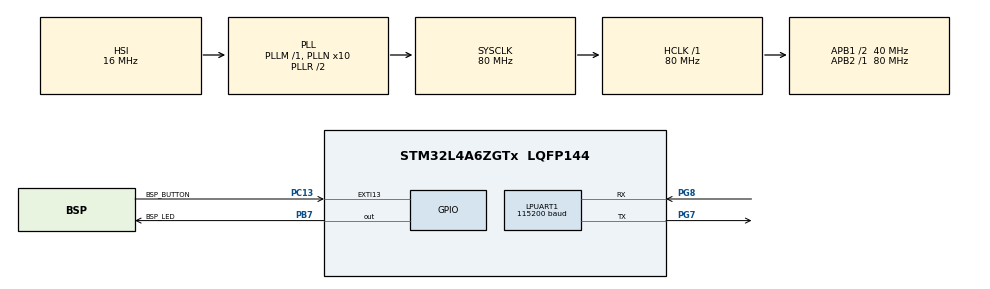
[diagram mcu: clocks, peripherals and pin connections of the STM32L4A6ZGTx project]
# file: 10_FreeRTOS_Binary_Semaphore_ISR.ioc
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FREERTOS.BinarySemaphores01=BinarySem,Dynamic,NULL
FREERTOS.Tasks01=Normal_Task,24,128,Start_Normal_Task,Default,NULL,Dynamic,NULL,NULL;High_Task,40,128,Start_High_Task,Default,NULL,Dynamic,NULL,NULL;Low_Task,8,128,Start_Low_Task,Default,NULL,Dynamic,NULL,NULL
FREERTOS.configUSE_NEWLIB_REENTRANT=1
LPUART1.BaudRate=115200
LPUART1.WordLength=UART_WORDLENGTH_8B
Mcu.Family=STM32L4
Mcu.Name=STM32L4A6ZGTx
Mcu.Package=LQFP144
NVIC.EXTI15_10_IRQn=true\:5\:0\:false\:false\:true\:true\:true\:true\:true
NVIC.PriorityGroup=NVIC_PRIORITYGROUP_4
NVIC.TIM6_DAC_IRQn=true\:15\:0\:false\:false\:true\:false\:false\:true\:true
NVIC.TimeBase=TIM6_DAC_IRQn
NVIC.TimeBaseIP=TIM6
PA13\ (JTMS/SWDIO).Mode=Serial_Wire
PA13\ (JTMS/SWDIO).Signal=SYS_JTMS-SWDIO
PA14\ (JTCK/SWCLK).Mode=Serial_Wire
PA14\ (JTCK/SWCLK).Signal=SYS_JTCK-SWCLK
PB7.GPIO_Label=BSP_LED
PB7.Signal=GPIO_Output
PC13.GPIO_Label=BSP_BUTTON
PC13.Signal=GPXTI13
PG7.Mode=Asynchronous
PG7.Signal=LPUART1_TX
PG8.Mode=Asynchronous
PG8.Signal=LPUART1_RX
ProjectManager.HeapSize=0x200
ProjectManager.StackSize=0x400
ProjectManager.TargetToolchain=STM32CubeIDE
RCC.ADCFreq_Value=192000000
RCC.AHBFreq_Value=80000000
RCC.APB1CLKDivider=RCC_HCLK_DIV2
RCC.APB1Freq_Value=40000000
RCC.APB1TimFreq_Value=80000000
RCC.APB2Freq_Value=80000000
RCC.APB2TimFreq_Value=80000000
RCC.CortexFreq_Value=80000000
RCC.FLatency=FLASH_LATENCY_4
RCC.HCLKFreq_Value=80000000
RCC.HSE_VALUE=8000000
RCC.HSI48_VALUE=48000000
RCC.HSI_VALUE=16000000
RCC.LSE_VALUE=32768
RCC.MSI_VALUE=4000000
RCC.PLLN=10
RCC.PLLSAI1N=24
RCC.PLLSourceVirtual=RCC_PLLSOURCE_HSI
RCC.SYSCLKFreq_VALUE=80000000
RCC.SYSCLKSource=RCC_SYSCLKSOURCE_PLLCLK
RCC.USBFreq_Value=192000000
RCC.VCOOutputFreq_Value=160000000
VP_FREERTOS_VS_CMSIS_V2.Mode=CMSIS_V2
VP_SYS_VS_tim6.Mode=TIM6
board=NUCLEO-L4A6ZG

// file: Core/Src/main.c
/* USER CODE BEGIN Header */
/**
  ******************************************************************************
  * @file           : main.c
  * @brief          : Main program body
  ******************************************************************************
  * @attention
  *
  * Copyright (c) 2024 STMicroelectronics.
  * All rights reserved.
  *
  * This software is licensed under terms that can be found in the LICENSE file
  * in the root directory of this software component.
  * If no LICENSE file comes with this software, it is provided AS-IS.
  *
  ******************************************************************************
  */
/* USER CODE END Header */
#include "main.h"
#include "cmsis_os.h"

/* USER CODE BEGIN Includes */
#include <stdio.h>
/* USER CODE END Includes */

UART_HandleTypeDef hlpuart1;

/* Definitions for Normal_Task */
osThreadId_t Normal_TaskHandle;
const osThreadAttr_t Normal_Task_attributes = {
  .name = "Normal_Task",
  .stack_size = 128 * 4,
  .priority = (osPriority_t) osPriorityNormal,
};
/* Definitions for High_Task */
osThreadId_t High_TaskHandle;
const osThreadAttr_t High_Task_attributes = {
  .name = "High_Task",
  .stack_size = 128 * 4,
  .priority = (osPriority_t) osPriorityHigh,
};
/* Definitions for Low_Task */
osThreadId_t Low_TaskHandle;
const osThreadAttr_t Low_Task_attributes = {
  .name = "Low_Task",
  .stack_size = 128 * 4,
  .priority = (osPriority_t) osPriorityLow,
};
/* Definitions for BinarySem */
osSemaphoreId_t BinarySemHandle;
const osSemaphoreAttr_t BinarySem_attributes = {
  .name = "BinarySem"
};
/* USER CODE BEGIN PV */
volatile uint32_t last_debounce_time = 0; // Store the last debounce time
const uint32_t debounce_delay = 200;      // 500 milliseconds debounce delay
volatile uint8_t flag = 0;
/* USER CODE END PV */

void SystemClock_Config(void);
static void MX_GPIO_Init(void);
static void MX_LPUART1_UART_Init(void);
void Start_Normal_Task(void *argument);
void Start_High_Task(void *argument);
void Start_Low_Task(void *argument);

int main(void)
{

  /* MCU Configuration--------------------------------------------------------*/

  /* Reset of all peripherals, Initializes the Flash interface and the Systick. */
  HAL_Init();

  /* Configure the system clock */
  SystemClock_Config();

  /* Initialize all configured peripherals */
  MX_GPIO_Init();
  MX_LPUART1_UART_Init();

  /* Init scheduler */
  osKernelInitialize();

  /* Create the semaphores(s) */
  /* creation of BinarySem */
  BinarySemHandle = osSemaphoreNew(1, 1, &BinarySem_attributes);

  /* Create the thread(s) */
  /* creation of Normal_Task */
  Normal_TaskHandle = osThreadNew(Start_Normal_Task, NULL, &Normal_Task_attributes);

  /* creation of High_Task */
  High_TaskHandle = osThreadNew(Start_High_Task, NULL, &High_Task_attributes);

  /* creation of Low_Task */
  Low_TaskHandle = osThreadNew(Start_Low_Task, NULL, &Low_Task_attributes);

  /* Start scheduler */
  osKernelStart();

  /* We should never get here as control is now taken by the scheduler */

  /* Infinite loop */
  while (1)
  {

  }
}

void SystemClock_Config(void)
{
  RCC_OscInitTypeDef RCC_OscInitStruct = {0};
  RCC_ClkInitTypeDef RCC_ClkInitStruct = {0};

  /** Configure the main internal regulator output voltage
  */
  if (HAL_PWREx_ControlVoltageScaling(PWR_REGULATOR_VOLTAGE_SCALE1) != HAL_OK)
  {
    Error_Handler();
  }

  /** Initializes the RCC Oscillators according to the specified parameters
  * in the RCC_OscInitTypeDef structure.
  */
  RCC_OscInitStruct.OscillatorType = RCC_OSCILLATORTYPE_HSI;
  RCC_OscInitStruct.HSIState = RCC_HSI_ON;
  RCC_OscInitStruct.HSICalibrationValue = RCC_HSICALIBRATION_DEFAULT;
  RCC_OscInitStruct.PLL.PLLState = RCC_PLL_ON;
  RCC_OscInitStruct.PLL.PLLSource = RCC_PLLSOURCE_HSI;
  RCC_OscInitStruct.PLL.PLLM = 1;
  RCC_OscInitStruct.PLL.PLLN = 10;
  RCC_OscInitStruct.PLL.PLLP = RCC_PLLP_DIV2;
  RCC_OscInitStruct.PLL.PLLQ = RCC_PLLQ_DIV2;
  RCC_OscInitStruct.PLL.PLLR = RCC_PLLR_DIV2;
  if (HAL_RCC_OscConfig(&RCC_OscInitStruct) != HAL_OK)
  {
    Error_Handler();
  }

  /** Initializes the CPU, AHB and APB buses clocks
  */
  RCC_ClkInitStruct.ClockType = RCC_CLOCKTYPE_HCLK|RCC_CLOCKTYPE_SYSCLK
                              |RCC_CLOCKTYPE_PCLK1|RCC_CLOCKTYPE_PCLK2;
  RCC_ClkInitStruct.SYSCLKSource = RCC_SYSCLKSOURCE_PLLCLK;
  RCC_ClkInitStruct.AHBCLKDivider = RCC_SYSCLK_DIV1;
  RCC_ClkInitStruct.APB1CLKDivider = RCC_HCLK_DIV2;
  RCC_ClkInitStruct.APB2CLKDivider = RCC_HCLK_DIV1;

  if (HAL_RCC_ClockConfig(&RCC_ClkInitStruct, FLASH_LATENCY_4) != HAL_OK)
  {
    Error_Handler();
  }
}

static void MX_LPUART1_UART_Init(void)
{

  hlpuart1.Instance = LPUART1;
  hlpuart1.Init.BaudRate = 115200;
  hlpuart1.Init.WordLength = UART_WORDLENGTH_8B;
  hlpuart1.Init.StopBits = UART_STOPBITS_1;
  hlpuart1.Init.Parity = UART_PARITY_NONE;
  hlpuart1.Init.Mode = UART_MODE_TX_RX;
  hlpuart1.Init.HwFlowCtl = UART_HWCONTROL_NONE;
  hlpuart1.Init.OneBitSampling = UART_ONE_BIT_SAMPLE_DISABLE;
  hlpuart1.AdvancedInit.AdvFeatureInit = UART_ADVFEATURE_NO_INIT;
  if (HAL_UART_Init(&hlpuart1) != HAL_OK)
  {
    Error_Handler();
  }

}

static void MX_GPIO_Init(void)
{
  GPIO_InitTypeDef GPIO_InitStruct = {0};

  /* GPIO Ports Clock Enable */
  __HAL_RCC_GPIOC_CLK_ENABLE();
  __HAL_RCC_GPIOG_CLK_ENABLE();
  HAL_PWREx_EnableVddIO2();
  __HAL_RCC_GPIOA_CLK_ENABLE();
  __HAL_RCC_GPIOB_CLK_ENABLE();

  /*Configure GPIO pin Output Level */
  HAL_GPIO_WritePin(BSP_LED_GPIO_Port, BSP_LED_Pin, GPIO_PIN_RESET);

  /*Configure GPIO pin : BSP_BUTTON_Pin */
  GPIO_InitStruct.Pin = BSP_BUTTON_Pin;
  GPIO_InitStruct.Mode = GPIO_MODE_IT_RISING;
  GPIO_InitStruct.Pull = GPIO_NOPULL;
  HAL_GPIO_Init(BSP_BUTTON_GPIO_Port, &GPIO_InitStruct);

  /*Configure GPIO pin : BSP_LED_Pin */
  GPIO_InitStruct.Pin = BSP_LED_Pin;
  GPIO_InitStruct.Mode = GPIO_MODE_OUTPUT_PP;
  GPIO_InitStruct.Pull = GPIO_NOPULL;
  GPIO_InitStruct.Speed = GPIO_SPEED_FREQ_LOW;
  HAL_GPIO_Init(BSP_LED_GPIO_Port, &GPIO_InitStruct);

  /* EXTI interrupt init*/
  HAL_NVIC_SetPriority(EXTI15_10_IRQn, 5, 0);
  HAL_NVIC_EnableIRQ(EXTI15_10_IRQn);

}

/* USER CODE BEGIN 4 */
void HAL_GPIO_EXTI_Callback(uint16_t GPIO_Pin)
{
  if (GPIO_Pin == GPIO_PIN_13)
  {
	  uint32_t current_time = HAL_GetTick(); // Get the current time in milliseconds

	      // Check if the debounce time has passed
	      if ((current_time - last_debounce_time) >= debounce_delay)
	      {
	        osSemaphoreRelease(BinarySemHandle);
	        printf("\r\nNormal Task: Semaphore released, task completed.\r\n");
	        // Update the last debounce time
	        last_debounce_time = current_time;
	      }
  }
}
/* USER CODE END 4 */

void Start_Normal_Task(void *argument)
{
  /* USER CODE BEGIN 5 */
  /* Infinite loop */
  for(;;)
  {
	    osSemaphoreAcquire(BinarySemHandle, osWaitForever);

	    printf("\r\nNormal Task: Semaphore acquired, performing task...\r\n");

	    HAL_GPIO_WritePin(GPIOB, GPIO_PIN_7, GPIO_PIN_RESET);
	    osDelay(1000);

	    // below line that release the semaphore
	    // if i comment this line it will not allowed to acquire semaphore
	    // for high task and continue to execute the low task

//	    osSemaphoreRelease(BinarySemHandle);
//	    printf("\r\nNormal Task: Semaphore released, task completed.\r\n");

	    osDelay(1000);  // Ensure some delay to avoid busy looping
}
  /* USER CODE END 5 */
}

void Start_High_Task(void *argument)
{
  /* USER CODE BEGIN Start_High_Task */
  /* Infinite loop */
  for(;;)
  {

	    osSemaphoreAcquire(BinarySemHandle, osWaitForever);

	    printf("\r\nHigh Task: Semaphore acquired, performing task...\r\n");

	    HAL_GPIO_WritePin(GPIOB, GPIO_PIN_7, GPIO_PIN_SET);
	    osDelay(1000);

	    // below line that release the semaphore
	    // if i comment this line it will not allow to acquire semaphore
	    // for normal task and continue to execute the low task

	    osSemaphoreRelease(BinarySemHandle);
	    printf("\r\nHigh Task: Semaphore released, task completed.\r\n");

	    osDelay(1000);
}
  /* USER CODE END Start_High_Task */
}

void Start_Low_Task(void *argument)
{
  /* USER CODE BEGIN Start_Low_Task */
  /* Infinite loop */
  for(;;)
  {
	    printf("\r\nEntered into LOW TASK\r\n");

	    printf("Leaving LOW TASK\r\n");

	    osDelay(1000);
}
  /* USER CODE END Start_Low_Task */
}

void HAL_TIM_PeriodElapsedCallback(TIM_HandleTypeDef *htim)
{
  if (htim->Instance == TIM6) {
    HAL_IncTick();
  }
}

void Error_Handler(void)
{
  __disable_irq();
  while (1)
  {
  }
}
